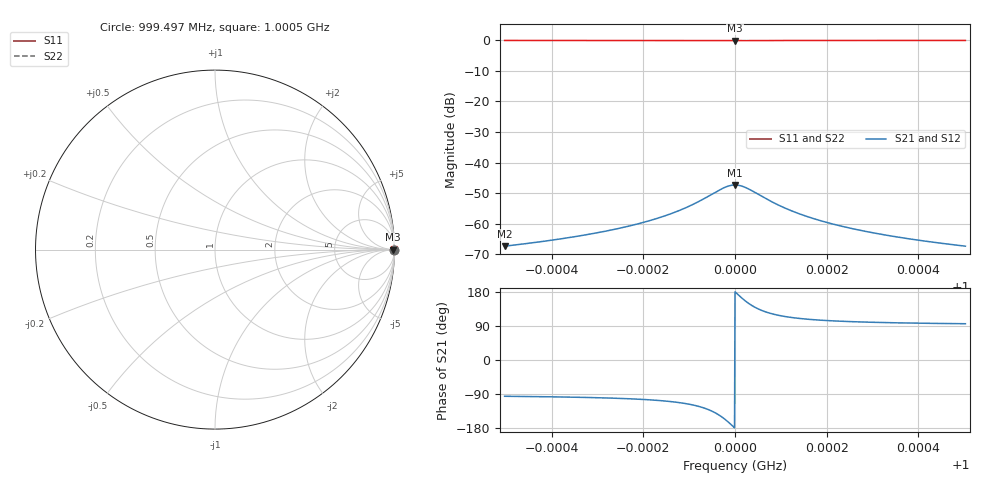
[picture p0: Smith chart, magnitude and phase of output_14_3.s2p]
! File generated for n1 = 14, n2 = 3
! b1 = 0.004642
! b2 = 0.001000
! Q0 = 10000.000000
! f0 = 1000000000.000000
! n = 1001
! rel_span = 10.000000
# Hz S RI R 50
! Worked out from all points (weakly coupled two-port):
!   1001 points, 999.497 MHz to 1.0005 GHz, reference 50 ohm
!   highest |S21| = -47.36 dB at 1 GHz (marker M1); lowest = -67.4 dB at 999.497 MHz (marker M2)
!   lowest |S11| = -0.1 dB at 1 GHz (marker M3), VSWR 215.66, Z = 1.08e+04 + j0 ohm
!   |S11| at or under -10 dB: nowhere
!   |S22| runs from 0.0 to 0.0 dB; largest |S21 - S12| = 0
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9.994972e8  0.9999 -0.000914  -4.24e-05 -0.000424  -4.24e-05 -0.000424  1 -0.000197
9.995837e8  0.9999 -0.0011  -6.16e-05 -0.00051  -6.16e-05 -0.00051  1 -0.000237
9.996651e8  0.9998 -0.00136  -9.44e-05 -0.000629  -9.44e-05 -0.000629  1 -0.000292
9.997576e8  0.9996 -0.00184  -0.000177 -0.000852  -0.000177 -0.000852  0.9999 -0.000396
9.997969e8  0.9995 -0.00215  -0.000247 -0.000999  -0.000247 -0.000999  0.9999 -0.000464
9.998331e8  0.9992 -0.00255  -0.000356 -0.00118  -0.000356 -0.00118  0.9998 -0.000549
9.998683e8  0.9988 -0.00308  -0.000545 -0.00143  -0.000545 -0.00143  0.9997 -0.000663
9.998994e8  0.9982 -0.00369  -0.000857 -0.00171  -0.000857 -0.00171  0.9996 -0.000795
9.999236e8  0.9972 -0.00424  -0.00129 -0.00197  -0.00129 -0.00197  0.9994 -0.000913
9.999769e8  0.9924 -0.0035  -0.00354 -0.00163  -0.00354 -0.00163  0.9984 -0.000755
9.999889e8  0.9912 -0.00194  -0.00409 -0.000899  -0.00409 -0.000899  0.9981 -0.000417
1e9  0.9908 0  -0.00428 0  -0.00428 0  0.998 0
1.000011e9  0.9912 0.00194  -0.00409 0.000899  -0.00409 0.000899  0.9981 0.000417
1.000023e9  0.9924 0.0035  -0.00354 0.00163  -0.00354 0.00163  0.9984 0.000755
1.000076e9  0.9972 0.00424  -0.00129 0.00197  -0.00129 0.00197  0.9994 0.000913
1.000101e9  0.9982 0.00369  -0.000857 0.00171  -0.000857 0.00171  0.9996 0.000796
1.000133e9  0.9988 0.00306  -0.000538 0.00142  -0.000538 0.00142  0.9998 0.000659
1.000168e9  0.9992 0.00254  -0.000353 0.00118  -0.000353 0.00118  0.9998 0.000546
1.000243e9  0.9996 0.00183  -0.000175 0.000849  -0.000175 0.000849  0.9999 0.000394
1.000336e9  0.9998 0.00135  -9.39e-05 0.000627  -9.39e-05 0.000627  1 0.000291
1.000417e9  0.9999 0.0011  -6.13e-05 0.000509  -6.13e-05 0.000509  1 0.000236
1.000503e9  0.9999 0.000914  -4.24e-05 0.000424  -4.24e-05 0.000424  1 0.000197
